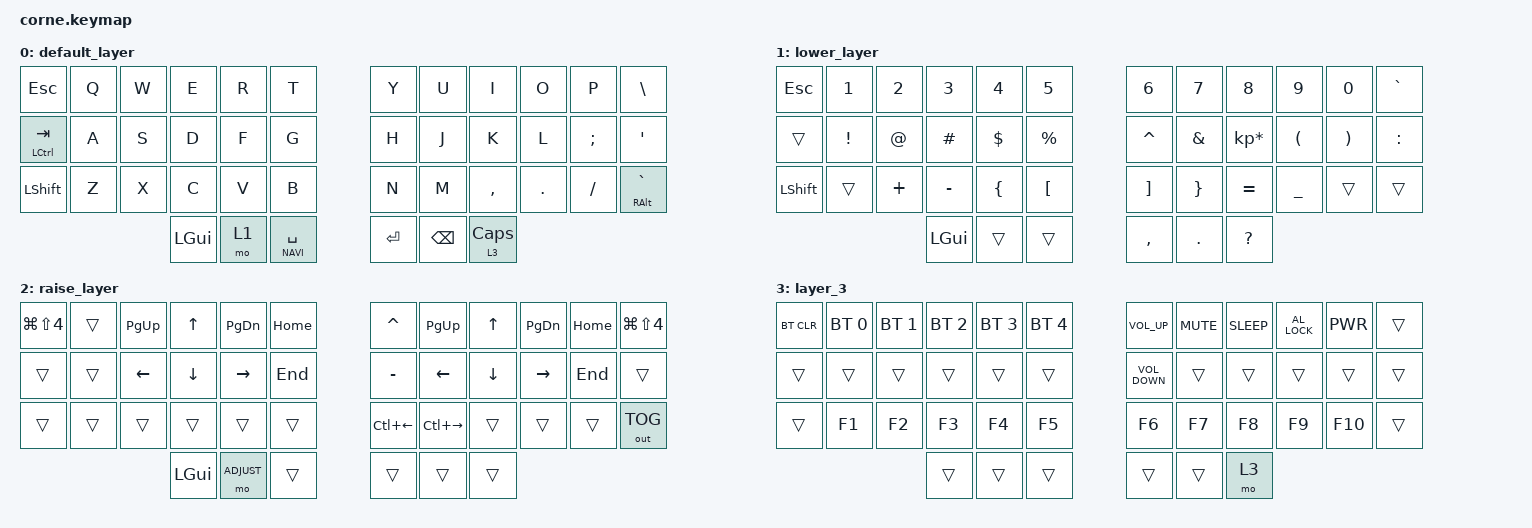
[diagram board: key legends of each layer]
/*
 * Copyright (c) 2020 The ZMK Contributors
 *
 * SPDX-License-Identifier: MIT
 */

#include <behaviors.dtsi>
#include <dt-bindings/zmk/bt.h>
#include <dt-bindings/zmk/keys.h>
#include <dt-bindings/zmk/outputs.h>

#define QWERTY 0
#define NUMB 1
#define NAVI 2
#define ADJUST 3

/ {
    keymap {
        compatible = "zmk,keymap";

        default_layer {
            bindings = <
&kp ESC        &kp Q  &kp W  &kp E     &kp R  &kp T             &kp Y      &kp U     &kp I       &kp O    &kp P     &kp BACKSLASH
&mt LCTRL TAB  &kp A  &kp S  &kp D     &kp F  &kp G             &kp H      &kp J     &kp K       &kp L    &kp SEMI  &kp SQT
&kp LSHFT      &kp Z  &kp X  &kp C     &kp V  &kp B             &kp N      &kp M     &kp COMMA   &kp DOT  &kp FSLH  &mt RALT GRAVE
                             &kp LGUI  &mo 1  &lt NAVI SPACE    &kp ENTER  &kp BSPC  &lt 3 CAPS
            >;
        };

        lower_layer {
            bindings = <
&kp ESC    &kp N1    &kp N2    &kp N3     &kp N4          &kp N5              &kp N6             &kp N7           &kp N8           &kp N9          &kp N0    &kp GRAVE
&trans     &kp EXCL  &kp AT    &kp HASH   &kp DLLR        &kp PRCNT           &kp CARET          &kp AMPS         &kp KP_MULTIPLY  &kp LPAR        &kp RPAR  &kp COLON
&kp LSHFT  &trans    &kp PLUS  &kp MINUS  &kp LEFT_BRACE  &kp LEFT_BRACKET    &kp RIGHT_BRACKET  &kp RIGHT_BRACE  &kp EQUAL        &kp UNDERSCORE  &trans    &trans
                               &kp LGUI   &trans          &trans              &kp COMMA          &kp DOT          &kp QMARK
            >;
        };

        raise_layer {
            bindings = <
&kp LG(LS(N4))  &trans  &kp PAGE_UP     &kp UP_ARROW    &kp PAGE_DOWN    &kp HOME    &kp CARET           &kp PAGE_UP          &kp UP_ARROW    &kp PAGE_DOWN    &kp HOME  &kp LG(LS(N4))
&trans          &trans  &kp LEFT_ARROW  &kp DOWN_ARROW  &kp RIGHT_ARROW  &kp END     &kp MINUS           &kp LEFT_ARROW       &kp DOWN_ARROW  &kp RIGHT_ARROW  &kp END   &trans
&trans          &trans  &trans          &trans          &trans           &trans      &kp LC(LEFT_ARROW)  &kp LC(RIGHT_ARROW)  &trans          &trans           &trans    &out OUT_TOG
                                        &kp LGUI        &mo ADJUST       &trans      &trans              &trans               &trans
            >;
        };

        layer_3 {
            bindings = <
&bt BT_CLR  &bt BT_SEL 0  &bt BT_SEL 1  &bt BT_SEL 2  &bt BT_SEL 3  &bt BT_SEL 4    &kp C_VOLUME_UP    &kp C_MUTE  &kp C_SLEEP  &kp C_AL_LOCK  &kp C_PWR  &trans
&trans      &trans        &trans        &trans        &trans        &trans          &kp C_VOLUME_DOWN  &trans      &trans       &trans         &trans     &trans
&trans      &kp F1        &kp F2        &kp F3        &kp F4        &kp F5          &kp F6             &kp F7      &kp F8       &kp F9         &kp F10    &trans
                                        &trans        &trans        &trans          &trans             &trans      &mo 3
            >;
        };
    };
};
